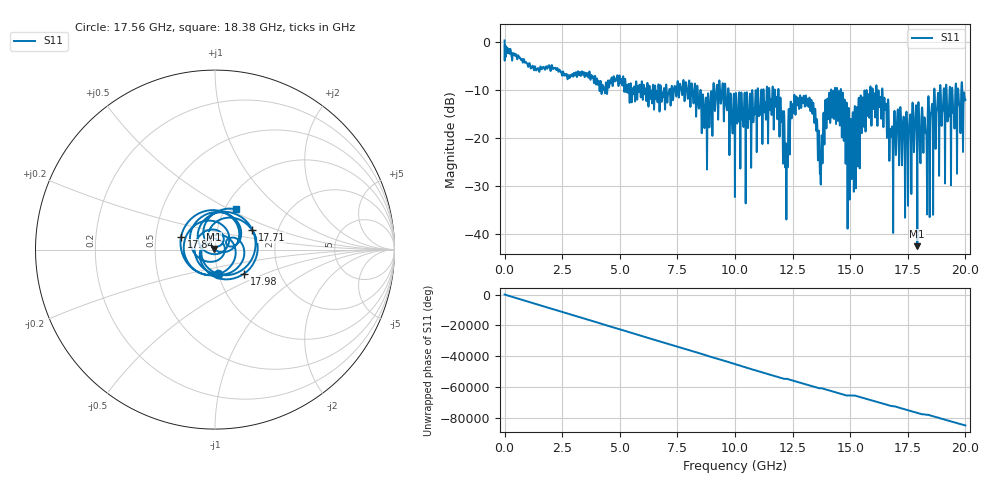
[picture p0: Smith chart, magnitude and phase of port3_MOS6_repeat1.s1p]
! MS46122B
! 2250307/22442219
! 7/24/2025 12:45:39 PM
! C:\USERS\SPARKY\DOCUMENTS\VNA_DATA\JULY24_2025\295K\PORT3_MOS6_REPEAT1.S1P
! CHANNEL.1
! TR.MEASUREMENT
! RAW.DATA
# GHZ S RI R 50.0
! FREQ.GHZ  S11RE  S11IM
!; PortSelection: Port_1
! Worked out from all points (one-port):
!   10001 points, 1 MHz to 20 GHz, reference 50 ohm
!   lowest |S11| = -42.5 dB at 17.91 GHz (marker M1), VSWR 1.02, Z = 49.3 + j0.312 ohm
!   |S11| at or under -10 dB: 11.89 GHz to 14.17 GHz (2.276 GHz wide, 17.5 % of centre); 14.6 GHz to 15.71 GHz (1.105 GHz wide, 7.29 % of centre); 16.4 GHz to 18.64 GHz (2.24 GHz wide, 12.8 % of centre) (the widest 3 of 72)
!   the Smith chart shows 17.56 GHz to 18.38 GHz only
!   S11 on the Smith chart (normalised r, x): 17.56 GHz: 1.00, -0.28; 17.71 GHz: 1.47, +0.35; 17.84 GHz: 0.68, +0.10; 17.98 GHz: 1.33, -0.37; 18.38 GHz: 1.13, +0.54
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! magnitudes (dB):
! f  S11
! 1 MHz  0.4
! 2.501 GHz  -6.9
! 5.001 GHz  -7.1
! 7.501 GHz  -8.3
! 8.719 GHz  -12.7
! 9.393 GHz  -12.5
! 10 GHz  -26.3
! 11.81 GHz  -11.6
! 12.23 GHz  -33.7
! 12.5 GHz  -12.9
! 13.32 GHz  -12.0
! 13.7 GHz  -26.7
! 14 GHz  -11.9
! 14.26 GHz  -10.1
! 15 GHz  -17.8
! 16.05 GHz  -10.7
! 16.57 GHz  -13.9
! 16.78 GHz  -19.0
! 17.12 GHz  -24.0
! 17.5 GHz  -28.5
! 17.56 GHz  -17.1
! 17.71 GHz  -12.6
! 17.84 GHz  -13.9
! 17.91 GHz  -42.5
! 17.98 GHz  -13.5
! 18.38 GHz  -11.9
! 18.99 GHz  -15.2
! 20 GHz  -12.0
